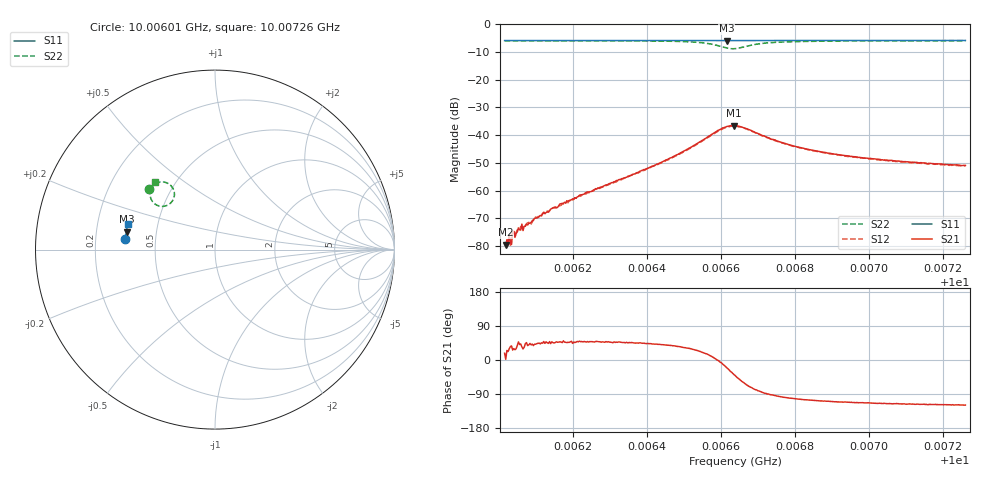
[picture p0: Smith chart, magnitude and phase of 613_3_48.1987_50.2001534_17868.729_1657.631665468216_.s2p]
#  HZ  S  RI  R  50.00
! Rohde & Schwarz Vector Network Analyzer
! Rohde-Schwarz,ZNB20-2Port,1311601062101988,3.16
! Created: UTC 3/20/2024, 12:03:36 PM
! freq[Hz]  re:S11  im:S11  re:S21  im:S21  re:S12  im:S12  re:S22  im:S22
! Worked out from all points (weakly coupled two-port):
!   401 points, 10.00601 GHz to 10.00726 GHz, reference 50 ohm
!   highest |S21| = -36.61 dB at 10.00663 GHz (marker M1); lowest = -79.5 dB at 10.00602 GHz (marker M2)
!   lowest |S11| = -6.0 dB at 10.00662 GHz (marker M3), VSWR 3.02, Z = 16.7 + j4.47 ohm
!   |S11| at or under -10 dB: nowhere
!   |S22| runs from -8.9 to -6.0 dB; largest |S21 - S12| = 0.0012
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1.0006014e10  -0.4993 0.0614  0.000105 3.4e-05  0.00011 5.49e-06  -0.3673 0.337
1.0006017e10  -0.4992 0.0616  0.000106 3.56e-06  8.87e-05 4.51e-05  -0.3672 0.3371
1.0006024e10  -0.4992 0.062  0.000109 4.47e-05  0.000105 7.02e-05  -0.3669 0.3376
1.0006039e10  -0.4991 0.0631  0.000159 9.23e-05  0.000143 0.000115  -0.3658 0.3387
1.0006055e10  -0.499 0.064  0.000148 0.000128  0.000162 0.000112  -0.3649 0.3396
1.000607e10  -0.4989 0.0651  0.000166 0.000154  0.000175 0.000159  -0.3641 0.3406
1.0006098e10  -0.4986 0.0668  0.000238 0.000212  0.00023 0.00024  -0.3621 0.3426
1.0006145e10  -0.4984 0.0701  0.000338 0.000349  0.000312 0.000373  -0.359 0.346
1.0006223e10  -0.4978 0.075  0.000555 0.00063  0.000524 0.000638  -0.353 0.3517
1.0006432e10  -0.4959 0.0887  0.00231 0.00204  0.00216 0.00213  -0.324 0.3712
1.0006488e10  -0.4951 0.0924  0.00382 0.0027  0.0036 0.0028  -0.3063 0.3763
1.0006557e10  -0.4939 0.0969  0.00818 0.00266  0.00783 0.00297  -0.2625 0.3692
1.0006616e10  -0.4926 0.0999  0.0133 -0.00508  0.0133 -0.00402  -0.2287 0.2897
1.0006635e10  -0.4925 0.1008  0.0117 -0.00908  0.0119 -0.00827  -0.2516 0.2554
1.0006638e10  -0.4925 0.1009  0.0112 -0.00965  0.0115 -0.00879  -0.2571 0.2513
1.0006666e10  -0.4926 0.1023  0.00598 -0.0118  0.00651 -0.0113  -0.3099 0.2425
1.0006706e10  -0.4927 0.1049  0.00117 -0.0101  0.00167 -0.00987  -0.3505 0.2712
1.0006766e10  -0.4923 0.109  -0.000958 -0.0072  -0.000615 -0.00717  -0.3618 0.3062
1.0006847e10  -0.4914 0.1144  -0.00149 -0.00512  -0.00122 -0.00509  -0.3585 0.3312
1.0006937e10  -0.4902 0.1201  -0.00152 -0.00396  -0.00132 -0.00397  -0.352 0.3464
1.0007056e10  -0.4886 0.1278  -0.00147 -0.00317  -0.0013 -0.00318  -0.3441 0.359
1.0007261e10  -0.4855 0.1407  -0.00137 -0.00249  -0.00126 -0.00247  -0.3316 0.3742
